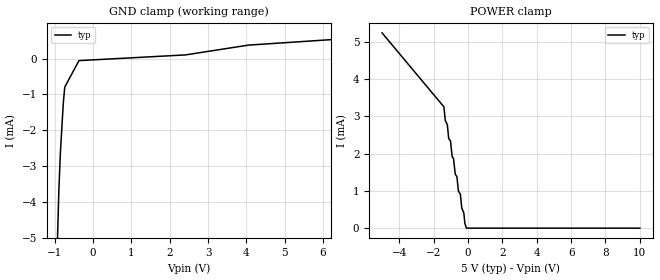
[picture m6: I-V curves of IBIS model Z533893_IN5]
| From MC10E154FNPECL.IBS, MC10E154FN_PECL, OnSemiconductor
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| (C) COPYRIGHT 1993-2000
| MENTOR GRAPHICS CORPORATION
| ICX STANDARD LIBRARY, ICX PROJECT MODELING,
| ICX CUSTOM MODELING, ICX VENDOR MODEL
| ALL RIGHTS RESERVED.
| THE FOLLOWING ARE TRADEMARKS OR SERVICE MARKS OF
| MENTOR GRAPHICS CORPORATION:ICX (R), ICX STANDARD
| LIBRARY(R), ICX PROJECT MODELING(R), ICX CUSTOM
| MODELING(R), qualityIBIS(TM), MODELVIEWER(TM),
| AND MODELEDITOR(TM)
| ALL COPIES OF SOFTWARE, INCLUDING BUT NOT LIMITED TO
| ANY MODIFICATIONS, ENHANCEMENTS OR DERIVATIVE WORKS,
| MUST CONTAIN ALL MENTOR GRAPHICS CORPORATION'S
| NOTICES AND LEGENDS, INCLUDING THOSE EMBEDDED IN
| SOFTWARE AND THOSE AFFIXED TO SOFTWARE MEDIUM
| AND CONTAINER, AS RECEIVED FROM MENTOR GRAPHICS
| CORPORATION.
| Model Application Version 1.89 2/18/99.
[Model] Z533893_IN5
Model_type Input_ECL
Vinl = 3.520V
Vinh = 3.870V
C_comp 4.000pF NA NA
| variable typ   min   max
[Voltage Range] 5.000V NA NA
[GND Clamp Reference] 0.000V NA NA
[POWER Clamp Reference] 5.000V NA NA
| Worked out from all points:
|   GND clamp passes 1 mA (typ) near -0.76 V on its own axis
|   POWER clamp passes 1 mA (typ) near -0.56 V on its own axis
[GND Clamp]
-5V       -236.3mA   NA         NA
-1.033V   -8.828mA   NA         NA
-896.2mV  -3.7mA     NA         NA
-858.6mV  -2.683mA   NA         NA
-781mV    -1.262mA   NA         NA
-742.1mV  -796.8uA   NA         NA
-371.1mV  -58.53uA   NA         NA
2.409V    101uA      NA         NA
4.056V    374.5uA    NA         NA
10V       794.8uA    NA         NA
[POWER Clamp]
-5V       5.245mA    NA         NA
-1.401V   3.258mA    NA         NA
-1.322V   2.896mA    NA         NA
-1.2V     2.776mA    NA         NA
-1.121V   2.403mA    NA         NA
-1.019V   2.346mA    NA         NA
-740mV    1.45mA     NA         NA
-642mV    1.381mA    NA         NA
-559mV    1.002mA    NA         NA
-442mV    908.5uA    NA         NA
-91mV     0A         NA         NA
10V       0A         NA         NA
